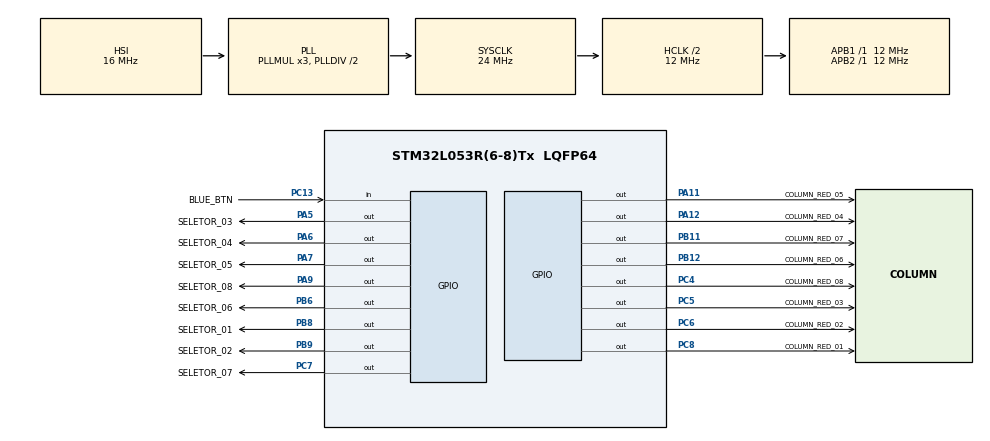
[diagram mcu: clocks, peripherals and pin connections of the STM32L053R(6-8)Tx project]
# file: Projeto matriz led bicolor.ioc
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Mcu.Family=STM32L0
Mcu.Name=STM32L053R(6-8)Tx
Mcu.Package=LQFP64
NVIC.TIM6_DAC_IRQn=true\:0\:0\:false\:false\:true\:true\:true\:true
PA11.GPIO_Label=COLUMN_RED_05
PA11.GPIO_PuPd=GPIO_PULLDOWN
PA11.GPIO_Speed=GPIO_SPEED_FREQ_HIGH
PA11.Signal=GPIO_Output
PA12.GPIO_Label=COLUMN_RED_04
PA12.GPIO_PuPd=GPIO_PULLDOWN
PA12.GPIO_Speed=GPIO_SPEED_FREQ_HIGH
PA12.Signal=GPIO_Output
PA5.GPIO_Label=SELETOR_03
PA5.GPIO_PuPd=GPIO_PULLDOWN
PA5.GPIO_Speed=GPIO_SPEED_FREQ_HIGH
PA5.Signal=GPIO_Output
PA6.GPIO_Label=SELETOR_04
PA6.GPIO_PuPd=GPIO_PULLDOWN
PA6.GPIO_Speed=GPIO_SPEED_FREQ_HIGH
PA6.Signal=GPIO_Output
PA7.GPIO_Label=SELETOR_05
PA7.GPIO_PuPd=GPIO_PULLDOWN
PA7.GPIO_Speed=GPIO_SPEED_FREQ_HIGH
PA7.Signal=GPIO_Output
PA9.GPIO_Label=SELETOR_08
PA9.GPIO_PuPd=GPIO_PULLDOWN
PA9.GPIO_Speed=GPIO_SPEED_FREQ_HIGH
PA9.Signal=GPIO_Output
PB11.GPIO_Label=COLUMN_RED_07
PB11.GPIO_PuPd=GPIO_PULLDOWN
PB11.GPIO_Speed=GPIO_SPEED_FREQ_HIGH
PB11.Signal=GPIO_Output
PB12.GPIO_Label=COLUMN_RED_06
PB12.GPIO_PuPd=GPIO_PULLDOWN
PB12.GPIO_Speed=GPIO_SPEED_FREQ_HIGH
PB12.Signal=GPIO_Output
PB6.GPIO_Label=SELETOR_06
PB6.GPIO_PuPd=GPIO_PULLDOWN
PB6.GPIO_Speed=GPIO_SPEED_FREQ_HIGH
PB6.Signal=GPIO_Output
PB8.GPIO_Label=SELETOR_01
PB8.GPIO_PuPd=GPIO_PULLDOWN
PB8.GPIO_Speed=GPIO_SPEED_FREQ_HIGH
PB8.Signal=GPIO_Output
PB9.GPIO_Label=SELETOR_02
PB9.GPIO_PuPd=GPIO_PULLDOWN
PB9.GPIO_Speed=GPIO_SPEED_FREQ_HIGH
PB9.Signal=GPIO_Output
PC13.GPIO_Label=BLUE_BTN
PC13.Signal=GPIO_Input
PC4.GPIO_Label=COLUMN_RED_08
PC4.GPIO_PuPd=GPIO_PULLDOWN
PC4.GPIO_Speed=GPIO_SPEED_FREQ_HIGH
PC4.Signal=GPIO_Output
PC5.GPIO_Label=COLUMN_RED_03
PC5.GPIO_PuPd=GPIO_PULLDOWN
PC5.GPIO_Speed=GPIO_SPEED_FREQ_HIGH
PC5.Signal=GPIO_Output
PC6.GPIO_Label=COLUMN_RED_02
PC6.GPIO_PuPd=GPIO_PULLDOWN
PC6.GPIO_Speed=GPIO_SPEED_FREQ_HIGH
PC6.Signal=GPIO_Output
PC7.GPIO_Label=SELETOR_07
PC7.GPIO_PuPd=GPIO_PULLDOWN
PC7.GPIO_Speed=GPIO_SPEED_FREQ_HIGH
PC7.Signal=GPIO_Output
PC8.GPIO_Label=COLUMN_RED_01
PC8.GPIO_PuPd=GPIO_PULLDOWN
PC8.GPIO_Speed=GPIO_SPEED_FREQ_HIGH
PC8.Signal=GPIO_Output
ProjectManager.HeapSize=0x200
ProjectManager.StackSize=0x400
ProjectManager.TargetToolchain=STM32CubeIDE
RCC.AHBCLKDivider=RCC_SYSCLK_DIV2
RCC.AHBFreq_Value=12000000
RCC.APB1Freq_Value=12000000
RCC.APB1TimFreq_Value=12000000
RCC.APB2Freq_Value=12000000
RCC.APB2TimFreq_Value=12000000
RCC.HCLKFreq_Value=12000000
RCC.HSE_VALUE=8000000
RCC.HSI16_VALUE=16000000
RCC.HSI48_VALUE=48000000
RCC.HSI_VALUE=16000000
RCC.LSE_VALUE=32768
RCC.MSI_VALUE=2097000
RCC.SYSCLKFreq_VALUE=24000000
RCC.SYSCLKSource=RCC_SYSCLKSOURCE_PLLCLK
RCC.VCOOutputFreq_Value=48000000
TIM6.AutoReloadPreload=TIM_AUTORELOAD_PRELOAD_ENABLE
TIM6.Period=500-1
TIM6.Prescaler=12000-1
VP_TIM6_VS_ClockSourceINT.Mode=Enable_Timer
board=NUCLEO-L053R8

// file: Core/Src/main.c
/* USER CODE BEGIN Header */
/**
  ******************************************************************************
  * @file           : main.c
  * @brief          : Main program body
  ******************************************************************************
  * @attention
  *
  * Copyright (c) 2025 STMicroelectronics.
  * All rights reserved.
  *
  * This software is licensed under terms that can be found in the LICENSE file
  * in the root directory of this software component.
  * If no LICENSE file comes with this software, it is provided AS-IS.
  *
  ******************************************************************************
  */
/* USER CODE END Header */
#include "main.h"

/* USER CODE BEGIN PTD */

typedef struct PIN{
	unsigned P0: 1,
			 P1: 1,
			 P2: 1,
			 P3: 1,
			 P4: 1,
			 P5: 1,
			 P6: 1,
			 P7: 1;
}filter;

/* USER CODE END PTD */

/* USER CODE BEGIN PD */
#define FRAMES 200
/* USER CODE END PD */

TIM_HandleTypeDef htim6;

/* USER CODE BEGIN PV */
filter port;
uint8_t debouce_time = 0,
		brefBouce_time = 0,
		aux = 0,
		new_animation = 0,
		animation = 1;
/* USER CODE END PV */

void SystemClock_Config(void);
static void MX_GPIO_Init(void);
static void MX_TIM6_Init(void);
/* USER CODE BEGIN PFP */
void Seletor_Line(char line);
void Seletor_Column(char column);
void Draw_disp(char anim_metode, uint8_t delay_time);
void Animations(char select, uint8_t delay_time);

/* USER CODE END PFP */

int main(void)
{

  /* MCU Configuration--------------------------------------------------------*/

  /* Reset of all peripherals, Initializes the Flash interface and the Systick. */
  HAL_Init();

  /* Configure the system clock */
  SystemClock_Config();

  /* Initialize all configured peripherals */
  MX_GPIO_Init();
  MX_TIM6_Init();

  /* Infinite loop */
  /* USER CODE BEGIN WHILE */
  while (1) {
	  if (animation){
		  Draw_disp('h', 0);
		  Draw_disp('m', 0);
	  } else {
		  Draw_disp('s', 100);
		  Draw_disp('r', 100);
	  }

	  uint8_t bbtn = HAL_GPIO_ReadPin(BLUE_BTN_GPIO_Port, BLUE_BTN_Pin);

	  if (!bbtn){
		  debouce_time = HAL_GetTick();
		  if (debouce_time - brefBouce_time > 25){
			  aux = new_animation;
			  new_animation = animation;
			  animation = aux;
		  }
		  brefBouce_time = debouce_time;
	  }

    /* USER CODE END WHILE */

  }
}

void SystemClock_Config(void)
{
  RCC_OscInitTypeDef RCC_OscInitStruct = {0};
  RCC_ClkInitTypeDef RCC_ClkInitStruct = {0};

  /** Configure the main internal regulator output voltage
  */
  __HAL_PWR_VOLTAGESCALING_CONFIG(PWR_REGULATOR_VOLTAGE_SCALE1);

  /** Initializes the RCC Oscillators according to the specified parameters
  * in the RCC_OscInitTypeDef structure.
  */
  RCC_OscInitStruct.OscillatorType = RCC_OSCILLATORTYPE_HSI;
  RCC_OscInitStruct.HSIState = RCC_HSI_ON;
  RCC_OscInitStruct.HSICalibrationValue = RCC_HSICALIBRATION_DEFAULT;
  RCC_OscInitStruct.PLL.PLLState = RCC_PLL_ON;
  RCC_OscInitStruct.PLL.PLLSource = RCC_PLLSOURCE_HSI;
  RCC_OscInitStruct.PLL.PLLMUL = RCC_PLLMUL_3;
  RCC_OscInitStruct.PLL.PLLDIV = RCC_PLLDIV_2;
  if (HAL_RCC_OscConfig(&RCC_OscInitStruct) != HAL_OK)
  {
    Error_Handler();
  }

  /** Initializes the CPU, AHB and APB buses clocks
  */
  RCC_ClkInitStruct.ClockType = RCC_CLOCKTYPE_HCLK|RCC_CLOCKTYPE_SYSCLK
                              |RCC_CLOCKTYPE_PCLK1|RCC_CLOCKTYPE_PCLK2;
  RCC_ClkInitStruct.SYSCLKSource = RCC_SYSCLKSOURCE_PLLCLK;
  RCC_ClkInitStruct.AHBCLKDivider = RCC_SYSCLK_DIV2;
  RCC_ClkInitStruct.APB1CLKDivider = RCC_HCLK_DIV1;
  RCC_ClkInitStruct.APB2CLKDivider = RCC_HCLK_DIV1;

  if (HAL_RCC_ClockConfig(&RCC_ClkInitStruct, FLASH_LATENCY_0) != HAL_OK)
  {
    Error_Handler();
  }
}

static void MX_TIM6_Init(void)
{

  TIM_MasterConfigTypeDef sMasterConfig = {0};

  htim6.Instance = TIM6;
  htim6.Init.Prescaler = 12000-1;
  htim6.Init.CounterMode = TIM_COUNTERMODE_UP;
  htim6.Init.Period = 500-1;
  htim6.Init.AutoReloadPreload = TIM_AUTORELOAD_PRELOAD_ENABLE;
  if (HAL_TIM_Base_Init(&htim6) != HAL_OK)
  {
    Error_Handler();
  }
  sMasterConfig.MasterOutputTrigger = TIM_TRGO_RESET;
  sMasterConfig.MasterSlaveMode = TIM_MASTERSLAVEMODE_DISABLE;
  if (HAL_TIMEx_MasterConfigSynchronization(&htim6, &sMasterConfig) != HAL_OK)
  {
    Error_Handler();
  }

}

static void MX_GPIO_Init(void)
{
  GPIO_InitTypeDef GPIO_InitStruct = {0};

  /* GPIO Ports Clock Enable */
  __HAL_RCC_GPIOC_CLK_ENABLE();
  __HAL_RCC_GPIOA_CLK_ENABLE();
  __HAL_RCC_GPIOB_CLK_ENABLE();

  /*Configure GPIO pin Output Level */
  HAL_GPIO_WritePin(GPIOA, SELETOR_03_Pin|SELETOR_04_Pin|SELETOR_05_Pin|SELETOR_08_Pin
                          |COLUMN_RED_05_Pin|COLUMN_RED_04_Pin, GPIO_PIN_RESET);

  /*Configure GPIO pin Output Level */
  HAL_GPIO_WritePin(GPIOC, COLUMN_RED_08_Pin|COLUMN_RED_03_Pin|COLUMN_RED_02_Pin|SELETOR_07_Pin
                          |COLUMN_RED_01_Pin, GPIO_PIN_RESET);

  /*Configure GPIO pin Output Level */
  HAL_GPIO_WritePin(GPIOB, COLUMN_RED_07_Pin|COLUMN_RED_06_Pin|SELETOR_06_Pin|SELETOR_01_Pin
                          |SELETOR_02_Pin, GPIO_PIN_RESET);

  /*Configure GPIO pin : BLUE_BTN_Pin */
  GPIO_InitStruct.Pin = BLUE_BTN_Pin;
  GPIO_InitStruct.Mode = GPIO_MODE_INPUT;
  GPIO_InitStruct.Pull = GPIO_NOPULL;
  HAL_GPIO_Init(BLUE_BTN_GPIO_Port, &GPIO_InitStruct);

  /*Configure GPIO pins : SELETOR_03_Pin SELETOR_04_Pin SELETOR_05_Pin SELETOR_08_Pin
                           COLUMN_RED_05_Pin COLUMN_RED_04_Pin */
  GPIO_InitStruct.Pin = SELETOR_03_Pin|SELETOR_04_Pin|SELETOR_05_Pin|SELETOR_08_Pin
                          |COLUMN_RED_05_Pin|COLUMN_RED_04_Pin;
  GPIO_InitStruct.Mode = GPIO_MODE_OUTPUT_PP;
  GPIO_InitStruct.Pull = GPIO_PULLDOWN;
  GPIO_InitStruct.Speed = GPIO_SPEED_FREQ_HIGH;
  HAL_GPIO_Init(GPIOA, &GPIO_InitStruct);

  /*Configure GPIO pins : COLUMN_RED_08_Pin COLUMN_RED_03_Pin COLUMN_RED_02_Pin SELETOR_07_Pin
                           COLUMN_RED_01_Pin */
  GPIO_InitStruct.Pin = COLUMN_RED_08_Pin|COLUMN_RED_03_Pin|COLUMN_RED_02_Pin|SELETOR_07_Pin
                          |COLUMN_RED_01_Pin;
  GPIO_InitStruct.Mode = GPIO_MODE_OUTPUT_PP;
  GPIO_InitStruct.Pull = GPIO_PULLDOWN;
  GPIO_InitStruct.Speed = GPIO_SPEED_FREQ_HIGH;
  HAL_GPIO_Init(GPIOC, &GPIO_InitStruct);

  /*Configure GPIO pins : COLUMN_RED_07_Pin COLUMN_RED_06_Pin SELETOR_06_Pin SELETOR_01_Pin
                           SELETOR_02_Pin */
  GPIO_InitStruct.Pin = COLUMN_RED_07_Pin|COLUMN_RED_06_Pin|SELETOR_06_Pin|SELETOR_01_Pin
                          |SELETOR_02_Pin;
  GPIO_InitStruct.Mode = GPIO_MODE_OUTPUT_PP;
  GPIO_InitStruct.Pull = GPIO_PULLDOWN;
  GPIO_InitStruct.Speed = GPIO_SPEED_FREQ_HIGH;
  HAL_GPIO_Init(GPIOB, &GPIO_InitStruct);

}

/* USER CODE BEGIN 4 */
void Seletor_Column(char column){
	port.P0 = (column >> 0) & 1;
	port.P1 = (column >> 1) & 1;
	port.P2 = (column >> 2) & 1;
	port.P3 = (column >> 3) & 1;
	port.P4 = (column >> 4) & 1;
	port.P5 = (column >> 5) & 1;
	port.P6 = (column >> 6) & 1;
	port.P7 = (column >> 7) & 1;

	HAL_GPIO_WritePin(COLUMN_RED_01_GPIO_Port, COLUMN_RED_01_Pin, port.P0);
	HAL_GPIO_WritePin(COLUMN_RED_02_GPIO_Port, COLUMN_RED_02_Pin, port.P1);
	HAL_GPIO_WritePin(COLUMN_RED_03_GPIO_Port, COLUMN_RED_03_Pin, port.P2);
	HAL_GPIO_WritePin(COLUMN_RED_04_GPIO_Port, COLUMN_RED_04_Pin, port.P3);
	HAL_GPIO_WritePin(COLUMN_RED_05_GPIO_Port, COLUMN_RED_05_Pin, port.P4);
	HAL_GPIO_WritePin(COLUMN_RED_06_GPIO_Port, COLUMN_RED_06_Pin, port.P5);
	HAL_GPIO_WritePin(COLUMN_RED_07_GPIO_Port, COLUMN_RED_07_Pin, port.P6);
	HAL_GPIO_WritePin(COLUMN_RED_08_GPIO_Port, COLUMN_RED_08_Pin, port.P7);
}

void Seletor_Line(char line){
	port.P0 = (line >> 0) & 1;
	port.P1 = (line >> 1) & 1;
	port.P2 = (line >> 2) & 1;
	port.P3 = (line >> 3) & 1;
	port.P4 = (line >> 4) & 1;
	port.P5 = (line >> 5) & 1;
	port.P6 = (line >> 6) & 1;
	port.P7 = (line >> 7) & 1;

	HAL_GPIO_WritePin(SELETOR_01_GPIO_Port, SELETOR_01_Pin, port.P0);
	HAL_GPIO_WritePin(SELETOR_02_GPIO_Port, SELETOR_02_Pin, port.P1);
	HAL_GPIO_WritePin(SELETOR_03_GPIO_Port, SELETOR_03_Pin, port.P2);
	HAL_GPIO_WritePin(SELETOR_04_GPIO_Port, SELETOR_04_Pin, port.P3);
	HAL_GPIO_WritePin(SELETOR_05_GPIO_Port, SELETOR_05_Pin, port.P4);
	HAL_GPIO_WritePin(SELETOR_06_GPIO_Port, SELETOR_06_Pin, port.P5);
	HAL_GPIO_WritePin(SELETOR_07_GPIO_Port, SELETOR_07_Pin, port.P6);
	HAL_GPIO_WritePin(SELETOR_08_GPIO_Port, SELETOR_08_Pin, port.P7);
}

void Draw_disp(char anim_metode, uint8_t delay_time){
	if (delay_time != 0){
		Animations(anim_metode, delay_time);
	}
	else {
		for (int i = FRAMES; i >= 0; i--){
			Animations(anim_metode, 0);
		}

	}
}
void Animations(char select, uint8_t delay_time){
	switch(select){
		case 's':
			Seletor_Column(0x7E);
			Seletor_Line(0x01);
			HAL_Delay(delay_time);

			Seletor_Column(0xBD);
			Seletor_Line(0x02);
			HAL_Delay(delay_time);

			Seletor_Column(0xDB);
			Seletor_Line(0x04);
			HAL_Delay(delay_time);

			Seletor_Column(0xE7);
			Seletor_Line(0x08);
			HAL_Delay(delay_time);

			Seletor_Column(0xE7);
			Seletor_Line(0x10);
			HAL_Delay(delay_time);

			Seletor_Column(0xDB);
			Seletor_Line(0x20);
			HAL_Delay(delay_time);

			Seletor_Column(0xBD);
			Seletor_Line(0x40);
			HAL_Delay(delay_time);

			Seletor_Column(0x7E);
			Seletor_Line(0x80);
			HAL_Delay(delay_time);
			break;

		case 'r':
			Seletor_Column(0x7E);
			Seletor_Line(0x80);
			HAL_Delay(delay_time);

			Seletor_Column(0xBD);
			Seletor_Line(0x40);
			HAL_Delay(delay_time);

			Seletor_Column(0xDB);
			Seletor_Line(0x20);
			HAL_Delay(delay_time);

			Seletor_Column(0xE7);
			Seletor_Line(0x10);
			HAL_Delay(delay_time);

			Seletor_Column(0xE7);
			Seletor_Line(0x08);
			HAL_Delay(delay_time);

			Seletor_Column(0xDB);
			Seletor_Line(0x04);
			HAL_Delay(delay_time);

			Seletor_Column(0xBD);
			Seletor_Line(0x02);
			HAL_Delay(delay_time);

			Seletor_Column(0x7E);
			Seletor_Line(0x01);
			HAL_Delay(delay_time);
			break;

		case 'h':
			Seletor_Column(0xFF);
			Seletor_Line(0x01);
			HAL_Delay(delay_time);

			Seletor_Column(0x99);
			Seletor_Line(0x02);
			HAL_Delay(delay_time);

			Seletor_Column(0x00);
			Seletor_Line(0x04);
			HAL_Delay(delay_time);

			Seletor_Column(0x00);
			Seletor_Line(0x08);
			HAL_Delay(delay_time);

			Seletor_Column(0x81);
			Seletor_Line(0x10);
			HAL_Delay(delay_time);

			Seletor_Column(0xC3);
			Seletor_Line(0x20);
			HAL_Delay(delay_time);

			Seletor_Column(0xE7);
			Seletor_Line(0x40);
			HAL_Delay(delay_time);

			Seletor_Column(0xFF);
			Seletor_Line(0x80);
			HAL_Delay(delay_time);
			break;

		case 'm':
			Seletor_Column(0XFF);
			Seletor_Line(0x01);
			HAL_Delay(delay_time);

			Seletor_Column(0xFF);
			Seletor_Line(0x02);
			HAL_Delay(delay_time);

			Seletor_Column(0xDB);
			Seletor_Line(0x04);
			HAL_Delay(delay_time);

			Seletor_Column(0x81);
			Seletor_Line(0x08);
			HAL_Delay(delay_time);

			Seletor_Column(0x81);
			Seletor_Line(0x10);
			HAL_Delay(delay_time);

			Seletor_Column(0xC3);
			Seletor_Line(0x20);
			HAL_Delay(delay_time);

			Seletor_Column(0xE7);
			Seletor_Line(0x40);
			HAL_Delay(delay_time);

			Seletor_Column(0xFF);
			Seletor_Line(0x80);
			HAL_Delay(delay_time);
			break;

		case '1':
			Seletor_Column(0XFF);
			Seletor_Line(0x01);
			HAL_Delay(delay_time);

			Seletor_Column(0xD3);
			Seletor_Line(0x02);
			HAL_Delay(delay_time);

			Seletor_Column(0x81);
			Seletor_Line(0x04);
			HAL_Delay(delay_time);

			Seletor_Column(0x81);
			Seletor_Line(0x08);
			HAL_Delay(delay_time);

			Seletor_Column(0x81);
			Seletor_Line(0x10);
			HAL_Delay(delay_time);

			Seletor_Column(0x81);
			Seletor_Line(0x20);
			HAL_Delay(delay_time);

			Seletor_Column(0xD3);
			Seletor_Line(0x40);
			HAL_Delay(delay_time);

			Seletor_Column(0xFF);
			Seletor_Line(0x80);
			HAL_Delay(delay_time);
			break;

		case '2':
			Seletor_Column(0XFF);
			Seletor_Line(0x01);
			HAL_Delay(delay_time);

			Seletor_Column(0xD3);
			Seletor_Line(0x02);
			HAL_Delay(delay_time);

			Seletor_Column(0x87);
			Seletor_Line(0x04);
			HAL_Delay(delay_time);

			Seletor_Column(0x8F);
			Seletor_Line(0x08);
			HAL_Delay(delay_time);

			Seletor_Column(0x8F);
			Seletor_Line(0x10);
			HAL_Delay(delay_time);

			Seletor_Column(0x8F);
			Seletor_Line(0x20);
			HAL_Delay(delay_time);

			Seletor_Column(0xD3);
			Seletor_Line(0x40);
			HAL_Delay(delay_time);

			Seletor_Column(0xFF);
			Seletor_Line(0x80);
			HAL_Delay(delay_time);
			break;

		case '3':
			Seletor_Column(0XFF);
			Seletor_Line(0x01);
			HAL_Delay(delay_time);

			Seletor_Column(0xD7);
			Seletor_Line(0x02);
			HAL_Delay(delay_time);

			Seletor_Column(0x87);
			Seletor_Line(0x04);
			HAL_Delay(delay_time);

			Seletor_Column(0x8F);
			Seletor_Line(0x08);
			HAL_Delay(delay_time);

			Seletor_Column(0x8F);
			Seletor_Line(0x10);
			HAL_Delay(delay_time);

			Seletor_Column(0x87);
			Seletor_Line(0x20);
			HAL_Delay(delay_time);

			Seletor_Column(0xD7);
			Seletor_Line(0x40);
			HAL_Delay(delay_time);

			Seletor_Column(0xFF);
			Seletor_Line(0x80);
			HAL_Delay(delay_time);
			break;
	}
}

/* USER CODE END 4 */

void Error_Handler(void)
{
  __disable_irq();
  while (1)
  {
  }
}
